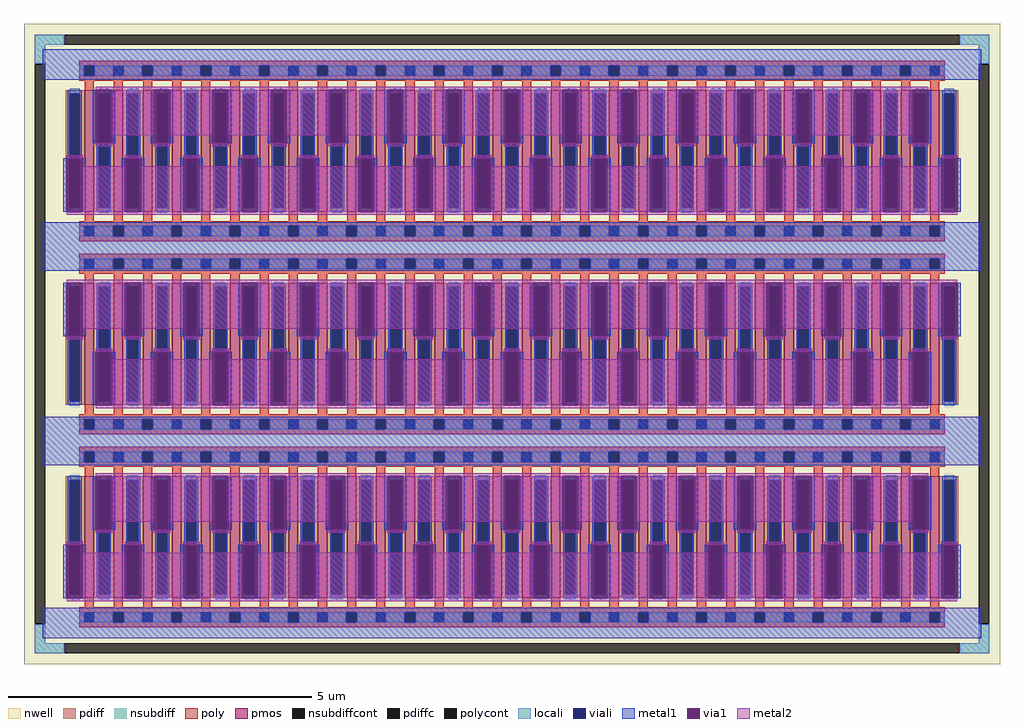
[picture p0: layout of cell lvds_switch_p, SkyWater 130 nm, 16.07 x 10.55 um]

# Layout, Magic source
magic
tech sky130A
magscale 1 2
<< nwell >>
rect 230 1916 3080 1982
rect 248 1902 278 1916
rect 440 1902 470 1916
rect 632 1902 662 1916
rect 824 1902 854 1916
rect 1016 1902 1046 1916
rect 1208 1902 1238 1916
rect 1400 1902 1430 1916
rect 1592 1910 1622 1916
rect 1784 1910 1814 1916
rect 1976 1910 2006 1916
rect 2168 1910 2198 1916
rect 2360 1910 2390 1916
rect 2552 1910 2582 1916
rect 2744 1910 2774 1916
rect 2936 1910 2966 1916
rect 344 1454 374 1466
rect 536 1454 566 1466
rect 728 1454 758 1466
rect 920 1454 950 1464
rect 1112 1454 1142 1466
rect 1304 1454 1334 1464
rect 1496 1454 1526 1464
rect 1688 1454 1718 1466
rect 1880 1454 1910 1466
rect 2072 1454 2102 1468
rect 2264 1454 2294 1468
rect 2456 1454 2486 1466
rect 2648 1454 2678 1466
rect 2840 1454 2870 1464
rect 3032 1454 3062 1466
rect 230 1388 3080 1454
rect 230 1280 3080 1346
rect 344 1268 374 1280
rect 536 1268 566 1280
rect 728 1268 758 1280
rect 920 1270 950 1280
rect 1112 1268 1142 1280
rect 1304 1270 1334 1280
rect 1496 1270 1526 1280
rect 1688 1268 1718 1280
rect 1880 1268 1910 1280
rect 2072 1266 2102 1280
rect 2264 1266 2294 1280
rect 2456 1268 2486 1280
rect 2648 1268 2678 1280
rect 2840 1270 2870 1280
rect 3032 1268 3062 1280
rect 248 818 278 832
rect 440 818 470 832
rect 632 818 662 832
rect 824 818 854 832
rect 1016 818 1046 832
rect 1208 818 1238 832
rect 1400 818 1430 832
rect 1592 818 1622 824
rect 1784 818 1814 824
rect 1976 818 2006 824
rect 2168 818 2198 824
rect 2360 818 2390 824
rect 2552 818 2582 824
rect 2744 818 2774 824
rect 2936 818 2966 824
rect 230 752 3080 818
rect 230 644 3080 710
rect 248 630 278 644
rect 440 630 470 644
rect 632 630 662 644
rect 824 630 854 644
rect 1016 630 1046 644
rect 1208 630 1238 644
rect 1400 630 1430 644
rect 1592 638 1622 644
rect 1784 638 1814 644
rect 1976 638 2006 644
rect 2168 638 2198 644
rect 2360 638 2390 644
rect 2552 638 2582 644
rect 2744 638 2774 644
rect 2936 638 2966 644
rect 344 182 374 194
rect 536 182 566 194
rect 728 182 758 194
rect 920 182 950 192
rect 1112 182 1142 194
rect 1304 182 1334 192
rect 1496 182 1526 192
rect 1688 182 1718 194
rect 1880 182 1910 194
rect 2072 182 2102 196
rect 2264 182 2294 196
rect 2456 182 2486 194
rect 2648 182 2678 194
rect 2840 182 2870 192
rect 3032 182 3062 194
rect 230 116 3080 182
<< poly >>
rect 230 1966 3080 1982
rect 230 1932 246 1966
rect 280 1932 438 1966
rect 472 1932 630 1966
rect 664 1932 822 1966
rect 856 1932 1014 1966
rect 1048 1932 1206 1966
rect 1240 1932 1398 1966
rect 1432 1932 1590 1966
rect 1624 1932 1782 1966
rect 1816 1932 1974 1966
rect 2008 1932 2166 1966
rect 2200 1932 2358 1966
rect 2392 1932 2550 1966
rect 2584 1932 2742 1966
rect 2776 1932 2934 1966
rect 2968 1932 3080 1966
rect 230 1916 3080 1932
rect 248 1902 278 1916
rect 440 1902 470 1916
rect 632 1902 662 1916
rect 824 1902 854 1916
rect 1016 1902 1046 1916
rect 1208 1902 1238 1916
rect 1400 1902 1430 1916
rect 1592 1910 1622 1916
rect 1784 1910 1814 1916
rect 1976 1910 2006 1916
rect 2168 1910 2198 1916
rect 2360 1910 2390 1916
rect 2552 1910 2582 1916
rect 2744 1910 2774 1916
rect 2936 1910 2966 1916
rect 344 1454 374 1466
rect 536 1454 566 1466
rect 728 1454 758 1466
rect 920 1454 950 1464
rect 1112 1454 1142 1466
rect 1304 1454 1334 1464
rect 1496 1454 1526 1464
rect 1688 1454 1718 1466
rect 1880 1454 1910 1466
rect 2072 1454 2102 1468
rect 2264 1454 2294 1468
rect 2456 1454 2486 1466
rect 2648 1454 2678 1466
rect 2840 1454 2870 1464
rect 3032 1454 3062 1466
rect 230 1438 3080 1454
rect 230 1404 342 1438
rect 376 1404 534 1438
rect 568 1404 726 1438
rect 760 1404 918 1438
rect 952 1404 1110 1438
rect 1144 1404 1302 1438
rect 1336 1404 1494 1438
rect 1528 1404 1686 1438
rect 1720 1404 1878 1438
rect 1912 1404 2070 1438
rect 2104 1404 2262 1438
rect 2296 1404 2454 1438
rect 2488 1404 2646 1438
rect 2680 1404 2838 1438
rect 2872 1404 3030 1438
rect 3064 1404 3080 1438
rect 230 1388 3080 1404
rect 230 1330 3080 1346
rect 230 1296 342 1330
rect 376 1296 534 1330
rect 568 1296 726 1330
rect 760 1296 918 1330
rect 952 1296 1110 1330
rect 1144 1296 1302 1330
rect 1336 1296 1494 1330
rect 1528 1296 1686 1330
rect 1720 1296 1878 1330
rect 1912 1296 2070 1330
rect 2104 1296 2262 1330
rect 2296 1296 2454 1330
rect 2488 1296 2646 1330
rect 2680 1296 2838 1330
rect 2872 1296 3030 1330
rect 3064 1296 3080 1330
rect 230 1280 3080 1296
rect 344 1268 374 1280
rect 536 1268 566 1280
rect 728 1268 758 1280
rect 920 1270 950 1280
rect 1112 1268 1142 1280
rect 1304 1270 1334 1280
rect 1496 1270 1526 1280
rect 1688 1268 1718 1280
rect 1880 1268 1910 1280
rect 2072 1266 2102 1280
rect 2264 1266 2294 1280
rect 2456 1268 2486 1280
rect 2648 1268 2678 1280
rect 2840 1270 2870 1280
rect 3032 1268 3062 1280
rect 248 818 278 832
rect 440 818 470 832
rect 632 818 662 832
rect 824 818 854 832
rect 1016 818 1046 832
rect 1208 818 1238 832
rect 1400 818 1430 832
rect 1592 818 1622 824
rect 1784 818 1814 824
rect 1976 818 2006 824
rect 2168 818 2198 824
rect 2360 818 2390 824
rect 2552 818 2582 824
rect 2744 818 2774 824
rect 2936 818 2966 824
rect 230 802 3080 818
rect 230 768 246 802
rect 280 768 438 802
rect 472 768 630 802
rect 664 768 822 802
rect 856 768 1014 802
rect 1048 768 1206 802
rect 1240 768 1398 802
rect 1432 768 1590 802
rect 1624 768 1782 802
rect 1816 768 1974 802
rect 2008 768 2166 802
rect 2200 768 2358 802
rect 2392 768 2550 802
rect 2584 768 2742 802
rect 2776 768 2934 802
rect 2968 768 3080 802
rect 230 752 3080 768
rect 230 694 3080 710
rect 230 660 246 694
rect 280 660 438 694
rect 472 660 630 694
rect 664 660 822 694
rect 856 660 1014 694
rect 1048 660 1206 694
rect 1240 660 1398 694
rect 1432 660 1590 694
rect 1624 660 1782 694
rect 1816 660 1974 694
rect 2008 660 2166 694
rect 2200 660 2358 694
rect 2392 660 2550 694
rect 2584 660 2742 694
rect 2776 660 2934 694
rect 2968 660 3080 694
rect 230 644 3080 660
rect 248 630 278 644
rect 440 630 470 644
rect 632 630 662 644
rect 824 630 854 644
rect 1016 630 1046 644
rect 1208 630 1238 644
rect 1400 630 1430 644
rect 1592 638 1622 644
rect 1784 638 1814 644
rect 1976 638 2006 644
rect 2168 638 2198 644
rect 2360 638 2390 644
rect 2552 638 2582 644
rect 2744 638 2774 644
rect 2936 638 2966 644
rect 344 182 374 194
rect 536 182 566 194
rect 728 182 758 194
rect 920 182 950 192
rect 1112 182 1142 194
rect 1304 182 1334 192
rect 1496 182 1526 192
rect 1688 182 1718 194
rect 1880 182 1910 194
rect 2072 182 2102 196
rect 2264 182 2294 196
rect 2456 182 2486 194
rect 2648 182 2678 194
rect 2840 182 2870 192
rect 3032 182 3062 194
rect 230 166 3080 182
rect 230 132 342 166
rect 376 132 534 166
rect 568 132 726 166
rect 760 132 918 166
rect 952 132 1110 166
rect 1144 132 1302 166
rect 1336 132 1494 166
rect 1528 132 1686 166
rect 1720 132 1878 166
rect 1912 132 2070 166
rect 2104 132 2262 166
rect 2296 132 2454 166
rect 2488 132 2646 166
rect 2680 132 2838 166
rect 2872 132 3030 166
rect 3064 132 3080 166
rect 230 116 3080 132
<< polycont >>
rect 246 1932 280 1966
rect 438 1932 472 1966
rect 630 1932 664 1966
rect 822 1932 856 1966
rect 1014 1932 1048 1966
rect 1206 1932 1240 1966
rect 1398 1932 1432 1966
rect 1590 1932 1624 1966
rect 1782 1932 1816 1966
rect 1974 1932 2008 1966
rect 2166 1932 2200 1966
rect 2358 1932 2392 1966
rect 2550 1932 2584 1966
rect 2742 1932 2776 1966
rect 2934 1932 2968 1966
rect 342 1404 376 1438
rect 534 1404 568 1438
rect 726 1404 760 1438
rect 918 1404 952 1438
rect 1110 1404 1144 1438
rect 1302 1404 1336 1438
rect 1494 1404 1528 1438
rect 1686 1404 1720 1438
rect 1878 1404 1912 1438
rect 2070 1404 2104 1438
rect 2262 1404 2296 1438
rect 2454 1404 2488 1438
rect 2646 1404 2680 1438
rect 2838 1404 2872 1438
rect 3030 1404 3064 1438
rect 342 1296 376 1330
rect 534 1296 568 1330
rect 726 1296 760 1330
rect 918 1296 952 1330
rect 1110 1296 1144 1330
rect 1302 1296 1336 1330
rect 1494 1296 1528 1330
rect 1686 1296 1720 1330
rect 1878 1296 1912 1330
rect 2070 1296 2104 1330
rect 2262 1296 2296 1330
rect 2454 1296 2488 1330
rect 2646 1296 2680 1330
rect 2838 1296 2872 1330
rect 3030 1296 3064 1330
rect 246 768 280 802
rect 438 768 472 802
rect 630 768 664 802
rect 822 768 856 802
rect 1014 768 1048 802
rect 1206 768 1240 802
rect 1398 768 1432 802
rect 1590 768 1624 802
rect 1782 768 1816 802
rect 1974 768 2008 802
rect 2166 768 2200 802
rect 2358 768 2392 802
rect 2550 768 2584 802
rect 2742 768 2776 802
rect 2934 768 2968 802
rect 246 660 280 694
rect 438 660 472 694
rect 630 660 664 694
rect 822 660 856 694
rect 1014 660 1048 694
rect 1206 660 1240 694
rect 1398 660 1432 694
rect 1590 660 1624 694
rect 1782 660 1816 694
rect 1974 660 2008 694
rect 2166 660 2200 694
rect 2358 660 2392 694
rect 2550 660 2584 694
rect 2742 660 2776 694
rect 2934 660 2968 694
rect 342 132 376 166
rect 534 132 568 166
rect 726 132 760 166
rect 918 132 952 166
rect 1110 132 1144 166
rect 1302 132 1336 166
rect 1494 132 1528 166
rect 1686 132 1720 166
rect 1878 132 1912 166
rect 2070 132 2104 166
rect 2262 132 2296 166
rect 2454 132 2488 166
rect 2646 132 2680 166
rect 2838 132 2872 166
rect 3030 132 3064 166
<< locali >>
rect 230 1932 246 1966
rect 280 1932 438 1966
rect 472 1932 630 1966
rect 664 1932 822 1966
rect 856 1932 1014 1966
rect 1048 1932 1206 1966
rect 1240 1932 1398 1966
rect 1432 1932 1590 1966
rect 1624 1932 1782 1966
rect 1816 1932 1974 1966
rect 2008 1932 2166 1966
rect 2200 1932 2358 1966
rect 2392 1932 2550 1966
rect 2584 1932 2742 1966
rect 2776 1932 2934 1966
rect 2968 1932 3080 1966
rect 230 1404 342 1438
rect 376 1404 534 1438
rect 568 1404 726 1438
rect 760 1404 918 1438
rect 952 1404 1110 1438
rect 1144 1404 1302 1438
rect 1336 1404 1494 1438
rect 1528 1404 1686 1438
rect 1720 1404 1878 1438
rect 1912 1404 2070 1438
rect 2104 1404 2262 1438
rect 2296 1404 2454 1438
rect 2488 1404 2646 1438
rect 2680 1404 2838 1438
rect 2872 1404 3030 1438
rect 3064 1404 3080 1438
rect 230 1296 342 1330
rect 376 1296 534 1330
rect 568 1296 726 1330
rect 760 1296 918 1330
rect 952 1296 1110 1330
rect 1144 1296 1302 1330
rect 1336 1296 1494 1330
rect 1528 1296 1686 1330
rect 1720 1296 1878 1330
rect 1912 1296 2070 1330
rect 2104 1296 2262 1330
rect 2296 1296 2454 1330
rect 2488 1296 2646 1330
rect 2680 1296 2838 1330
rect 2872 1296 3030 1330
rect 3064 1296 3080 1330
rect 230 768 246 802
rect 280 768 438 802
rect 472 768 630 802
rect 664 768 822 802
rect 856 768 1014 802
rect 1048 768 1206 802
rect 1240 768 1398 802
rect 1432 768 1590 802
rect 1624 768 1782 802
rect 1816 768 1974 802
rect 2008 768 2166 802
rect 2200 768 2358 802
rect 2392 768 2550 802
rect 2584 768 2742 802
rect 2776 768 2934 802
rect 2968 768 3080 802
rect 230 660 246 694
rect 280 660 438 694
rect 472 660 630 694
rect 664 660 822 694
rect 856 660 1014 694
rect 1048 660 1206 694
rect 1240 660 1398 694
rect 1432 660 1590 694
rect 1624 660 1782 694
rect 1816 660 1974 694
rect 2008 660 2166 694
rect 2200 660 2358 694
rect 2392 660 2550 694
rect 2584 660 2742 694
rect 2776 660 2934 694
rect 2968 660 3080 694
rect 230 132 342 166
rect 376 132 534 166
rect 568 132 726 166
rect 760 132 918 166
rect 952 132 1110 166
rect 1144 132 1302 166
rect 1336 132 1494 166
rect 1528 132 1686 166
rect 1720 132 1878 166
rect 1912 132 2070 166
rect 2104 132 2262 166
rect 2296 132 2454 166
rect 2488 132 2646 166
rect 2680 132 2838 166
rect 2872 132 3030 166
rect 3064 132 3080 166
<< viali >>
rect 246 1932 280 1966
rect 438 1932 472 1966
rect 630 1932 664 1966
rect 822 1932 856 1966
rect 1014 1932 1048 1966
rect 1206 1932 1240 1966
rect 1398 1932 1432 1966
rect 1590 1932 1624 1966
rect 1782 1932 1816 1966
rect 1974 1932 2008 1966
rect 2166 1932 2200 1966
rect 2358 1932 2392 1966
rect 2550 1932 2584 1966
rect 2742 1932 2776 1966
rect 2934 1932 2968 1966
rect 342 1404 376 1438
rect 534 1404 568 1438
rect 726 1404 760 1438
rect 918 1404 952 1438
rect 1110 1404 1144 1438
rect 1302 1404 1336 1438
rect 1494 1404 1528 1438
rect 1686 1404 1720 1438
rect 1878 1404 1912 1438
rect 2070 1404 2104 1438
rect 2262 1404 2296 1438
rect 2454 1404 2488 1438
rect 2646 1404 2680 1438
rect 2838 1404 2872 1438
rect 3030 1404 3064 1438
rect 342 1296 376 1330
rect 534 1296 568 1330
rect 726 1296 760 1330
rect 918 1296 952 1330
rect 1110 1296 1144 1330
rect 1302 1296 1336 1330
rect 1494 1296 1528 1330
rect 1686 1296 1720 1330
rect 1878 1296 1912 1330
rect 2070 1296 2104 1330
rect 2262 1296 2296 1330
rect 2454 1296 2488 1330
rect 2646 1296 2680 1330
rect 2838 1296 2872 1330
rect 3030 1296 3064 1330
rect 246 768 280 802
rect 438 768 472 802
rect 630 768 664 802
rect 822 768 856 802
rect 1014 768 1048 802
rect 1206 768 1240 802
rect 1398 768 1432 802
rect 1590 768 1624 802
rect 1782 768 1816 802
rect 1974 768 2008 802
rect 2166 768 2200 802
rect 2358 768 2392 802
rect 2550 768 2584 802
rect 2742 768 2776 802
rect 2934 768 2968 802
rect 246 660 280 694
rect 438 660 472 694
rect 630 660 664 694
rect 822 660 856 694
rect 1014 660 1048 694
rect 1206 660 1240 694
rect 1398 660 1432 694
rect 1590 660 1624 694
rect 1782 660 1816 694
rect 1974 660 2008 694
rect 2166 660 2200 694
rect 2358 660 2392 694
rect 2550 660 2584 694
rect 2742 660 2776 694
rect 2934 660 2968 694
rect 342 132 376 166
rect 534 132 568 166
rect 726 132 760 166
rect 918 132 952 166
rect 1110 132 1144 166
rect 1302 132 1336 166
rect 1494 132 1528 166
rect 1686 132 1720 166
rect 1878 132 1912 166
rect 2070 132 2104 166
rect 2262 132 2296 166
rect 2454 132 2488 166
rect 2646 132 2680 166
rect 2838 132 2872 166
rect 3030 132 3064 166
<< metal1 >>
rect 110 1966 3200 2020
rect 110 1932 246 1966
rect 280 1932 438 1966
rect 472 1932 630 1966
rect 664 1932 822 1966
rect 856 1932 1014 1966
rect 1048 1932 1206 1966
rect 1240 1932 1398 1966
rect 1432 1932 1590 1966
rect 1624 1932 1782 1966
rect 1816 1932 1974 1966
rect 2008 1932 2166 1966
rect 2200 1932 2358 1966
rect 2392 1932 2550 1966
rect 2584 1932 2742 1966
rect 2776 1932 2934 1966
rect 2968 1932 3200 1966
rect 110 1920 3200 1932
rect 274 1710 284 1886
rect 338 1710 348 1886
rect 466 1710 476 1886
rect 530 1710 540 1886
rect 658 1710 668 1886
rect 722 1710 732 1886
rect 850 1710 860 1886
rect 914 1710 924 1886
rect 1042 1710 1052 1886
rect 1106 1710 1116 1886
rect 1234 1710 1244 1886
rect 1298 1710 1308 1886
rect 1426 1710 1436 1886
rect 1490 1710 1500 1886
rect 1618 1710 1628 1886
rect 1682 1710 1692 1886
rect 1810 1710 1820 1886
rect 1874 1710 1884 1886
rect 2002 1710 2012 1886
rect 2066 1710 2076 1886
rect 2194 1710 2204 1886
rect 2258 1710 2268 1886
rect 2386 1710 2396 1886
rect 2450 1710 2460 1886
rect 2578 1710 2588 1886
rect 2642 1710 2652 1886
rect 2770 1710 2780 1886
rect 2834 1710 2844 1886
rect 2962 1710 2972 1886
rect 3026 1710 3036 1886
rect 178 1484 188 1660
rect 242 1484 252 1660
rect 370 1484 380 1660
rect 434 1484 444 1660
rect 562 1484 572 1660
rect 626 1484 636 1660
rect 754 1484 764 1660
rect 818 1484 828 1660
rect 946 1484 956 1660
rect 1010 1484 1020 1660
rect 1138 1484 1148 1660
rect 1202 1484 1212 1660
rect 1330 1484 1340 1660
rect 1394 1484 1404 1660
rect 1522 1484 1532 1660
rect 1586 1484 1596 1660
rect 1714 1484 1724 1660
rect 1778 1484 1788 1660
rect 1906 1484 1916 1660
rect 1970 1484 1980 1660
rect 2098 1484 2108 1660
rect 2162 1484 2172 1660
rect 2290 1484 2300 1660
rect 2354 1484 2364 1660
rect 2482 1484 2492 1660
rect 2546 1484 2556 1660
rect 2674 1484 2684 1660
rect 2738 1484 2748 1660
rect 2866 1484 2876 1660
rect 2930 1484 2940 1660
rect 3058 1484 3068 1660
rect 3122 1484 3132 1660
rect 110 1438 3200 1450
rect 110 1404 342 1438
rect 376 1404 534 1438
rect 568 1404 726 1438
rect 760 1404 918 1438
rect 952 1404 1110 1438
rect 1144 1404 1302 1438
rect 1336 1404 1494 1438
rect 1528 1404 1686 1438
rect 1720 1404 1878 1438
rect 1912 1404 2070 1438
rect 2104 1404 2262 1438
rect 2296 1404 2454 1438
rect 2488 1404 2646 1438
rect 2680 1404 2838 1438
rect 2872 1404 3030 1438
rect 3064 1404 3200 1438
rect 110 1330 3200 1404
rect 110 1296 342 1330
rect 376 1296 534 1330
rect 568 1296 726 1330
rect 760 1296 918 1330
rect 952 1296 1110 1330
rect 1144 1296 1302 1330
rect 1336 1296 1494 1330
rect 1528 1296 1686 1330
rect 1720 1296 1878 1330
rect 1912 1296 2070 1330
rect 2104 1296 2262 1330
rect 2296 1296 2454 1330
rect 2488 1296 2646 1330
rect 2680 1296 2838 1330
rect 2872 1296 3030 1330
rect 3064 1296 3200 1330
rect 110 1290 3200 1296
rect 178 1074 188 1250
rect 242 1074 252 1250
rect 370 1074 380 1250
rect 434 1074 444 1250
rect 562 1074 572 1250
rect 626 1074 636 1250
rect 754 1074 764 1250
rect 818 1074 828 1250
rect 946 1074 956 1250
rect 1010 1074 1020 1250
rect 1138 1074 1148 1250
rect 1202 1074 1212 1250
rect 1330 1074 1340 1250
rect 1394 1074 1404 1250
rect 1522 1074 1532 1250
rect 1586 1074 1596 1250
rect 1714 1074 1724 1250
rect 1778 1074 1788 1250
rect 1906 1074 1916 1250
rect 1970 1074 1980 1250
rect 2098 1074 2108 1250
rect 2162 1074 2172 1250
rect 2290 1074 2300 1250
rect 2354 1074 2364 1250
rect 2482 1074 2492 1250
rect 2546 1074 2556 1250
rect 2674 1074 2684 1250
rect 2738 1074 2748 1250
rect 2866 1074 2876 1250
rect 2930 1074 2940 1250
rect 3058 1074 3068 1250
rect 3122 1074 3132 1250
rect 274 848 284 1024
rect 338 848 348 1024
rect 466 848 476 1024
rect 530 848 540 1024
rect 658 848 668 1024
rect 722 848 732 1024
rect 850 848 860 1024
rect 914 848 924 1024
rect 1042 848 1052 1024
rect 1106 848 1116 1024
rect 1234 848 1244 1024
rect 1298 848 1308 1024
rect 1426 848 1436 1024
rect 1490 848 1500 1024
rect 1618 848 1628 1024
rect 1682 848 1692 1024
rect 1810 848 1820 1024
rect 1874 848 1884 1024
rect 2002 848 2012 1024
rect 2066 848 2076 1024
rect 2194 848 2204 1024
rect 2258 848 2268 1024
rect 2386 848 2396 1024
rect 2450 848 2460 1024
rect 2578 848 2588 1024
rect 2642 848 2652 1024
rect 2770 848 2780 1024
rect 2834 848 2844 1024
rect 2962 848 2972 1024
rect 3026 848 3036 1024
rect 110 802 3200 810
rect 110 768 246 802
rect 280 768 438 802
rect 472 768 630 802
rect 664 768 822 802
rect 856 768 1014 802
rect 1048 768 1206 802
rect 1240 768 1398 802
rect 1432 768 1590 802
rect 1624 768 1782 802
rect 1816 768 1974 802
rect 2008 768 2166 802
rect 2200 768 2358 802
rect 2392 768 2550 802
rect 2584 768 2742 802
rect 2776 768 2934 802
rect 2968 768 3200 802
rect 110 694 3200 768
rect 110 660 246 694
rect 280 660 438 694
rect 472 660 630 694
rect 664 660 822 694
rect 856 660 1014 694
rect 1048 660 1206 694
rect 1240 660 1398 694
rect 1432 660 1590 694
rect 1624 660 1782 694
rect 1816 660 1974 694
rect 2008 660 2166 694
rect 2200 660 2358 694
rect 2392 660 2550 694
rect 2584 660 2742 694
rect 2776 660 2934 694
rect 2968 660 3200 694
rect 110 650 3200 660
rect 274 438 284 614
rect 338 438 348 614
rect 466 438 476 614
rect 530 438 540 614
rect 658 438 668 614
rect 722 438 732 614
rect 850 438 860 614
rect 914 438 924 614
rect 1042 438 1052 614
rect 1106 438 1116 614
rect 1234 438 1244 614
rect 1298 438 1308 614
rect 1426 438 1436 614
rect 1490 438 1500 614
rect 1618 438 1628 614
rect 1682 438 1692 614
rect 1810 438 1820 614
rect 1874 438 1884 614
rect 2002 438 2012 614
rect 2066 438 2076 614
rect 2194 438 2204 614
rect 2258 438 2268 614
rect 2386 438 2396 614
rect 2450 438 2460 614
rect 2578 438 2588 614
rect 2642 438 2652 614
rect 2770 438 2780 614
rect 2834 438 2844 614
rect 2962 438 2972 614
rect 3026 438 3036 614
rect 178 212 188 388
rect 242 212 252 388
rect 370 212 380 388
rect 434 212 444 388
rect 562 212 572 388
rect 626 212 636 388
rect 754 212 764 388
rect 818 212 828 388
rect 946 212 956 388
rect 1010 212 1020 388
rect 1138 212 1148 388
rect 1202 212 1212 388
rect 1330 212 1340 388
rect 1394 212 1404 388
rect 1522 212 1532 388
rect 1586 212 1596 388
rect 1714 212 1724 388
rect 1778 212 1788 388
rect 1906 212 1916 388
rect 1970 212 1980 388
rect 2098 212 2108 388
rect 2162 212 2172 388
rect 2290 212 2300 388
rect 2354 212 2364 388
rect 2482 212 2492 388
rect 2546 212 2556 388
rect 2674 212 2684 388
rect 2738 212 2748 388
rect 2866 212 2876 388
rect 2930 212 2940 388
rect 3058 212 3068 388
rect 3122 212 3132 388
rect 110 166 3200 180
rect 110 132 342 166
rect 376 132 534 166
rect 568 132 726 166
rect 760 132 918 166
rect 952 132 1110 166
rect 1144 132 1302 166
rect 1336 132 1494 166
rect 1528 132 1686 166
rect 1720 132 1878 166
rect 1912 132 2070 166
rect 2104 132 2262 166
rect 2296 132 2454 166
rect 2488 132 2646 166
rect 2680 132 2838 166
rect 2872 132 3030 166
rect 3064 132 3200 166
rect 110 80 3200 132
<< via1 >>
rect 284 1710 338 1886
rect 476 1710 530 1886
rect 668 1710 722 1886
rect 860 1710 914 1886
rect 1052 1710 1106 1886
rect 1244 1710 1298 1886
rect 1436 1710 1490 1886
rect 1628 1710 1682 1886
rect 1820 1710 1874 1886
rect 2012 1710 2066 1886
rect 2204 1710 2258 1886
rect 2396 1710 2450 1886
rect 2588 1710 2642 1886
rect 2780 1710 2834 1886
rect 2972 1710 3026 1886
rect 188 1484 242 1660
rect 380 1484 434 1660
rect 572 1484 626 1660
rect 764 1484 818 1660
rect 956 1484 1010 1660
rect 1148 1484 1202 1660
rect 1340 1484 1394 1660
rect 1532 1484 1586 1660
rect 1724 1484 1778 1660
rect 1916 1484 1970 1660
rect 2108 1484 2162 1660
rect 2300 1484 2354 1660
rect 2492 1484 2546 1660
rect 2684 1484 2738 1660
rect 2876 1484 2930 1660
rect 3068 1484 3122 1660
rect 188 1074 242 1250
rect 380 1074 434 1250
rect 572 1074 626 1250
rect 764 1074 818 1250
rect 956 1074 1010 1250
rect 1148 1074 1202 1250
rect 1340 1074 1394 1250
rect 1532 1074 1586 1250
rect 1724 1074 1778 1250
rect 1916 1074 1970 1250
rect 2108 1074 2162 1250
rect 2300 1074 2354 1250
rect 2492 1074 2546 1250
rect 2684 1074 2738 1250
rect 2876 1074 2930 1250
rect 3068 1074 3122 1250
rect 284 848 338 1024
rect 476 848 530 1024
rect 668 848 722 1024
rect 860 848 914 1024
rect 1052 848 1106 1024
rect 1244 848 1298 1024
rect 1436 848 1490 1024
rect 1628 848 1682 1024
rect 1820 848 1874 1024
rect 2012 848 2066 1024
rect 2204 848 2258 1024
rect 2396 848 2450 1024
rect 2588 848 2642 1024
rect 2780 848 2834 1024
rect 2972 848 3026 1024
rect 284 438 338 614
rect 476 438 530 614
rect 668 438 722 614
rect 860 438 914 614
rect 1052 438 1106 614
rect 1244 438 1298 614
rect 1436 438 1490 614
rect 1628 438 1682 614
rect 1820 438 1874 614
rect 2012 438 2066 614
rect 2204 438 2258 614
rect 2396 438 2450 614
rect 2588 438 2642 614
rect 2780 438 2834 614
rect 2972 438 3026 614
rect 188 212 242 388
rect 380 212 434 388
rect 572 212 626 388
rect 764 212 818 388
rect 956 212 1010 388
rect 1148 212 1202 388
rect 1340 212 1394 388
rect 1532 212 1586 388
rect 1724 212 1778 388
rect 1916 212 1970 388
rect 2108 212 2162 388
rect 2300 212 2354 388
rect 2492 212 2546 388
rect 2684 212 2738 388
rect 2876 212 2930 388
rect 3068 212 3122 388
<< metal2 >>
rect 284 1886 3026 1896
rect 338 1736 476 1886
rect 284 1700 338 1710
rect 530 1736 668 1886
rect 476 1700 530 1710
rect 722 1736 860 1886
rect 668 1700 722 1710
rect 914 1736 1052 1886
rect 860 1700 914 1710
rect 1106 1736 1244 1886
rect 1052 1700 1106 1710
rect 1298 1736 1436 1886
rect 1244 1700 1298 1710
rect 1490 1736 1628 1886
rect 1436 1700 1490 1710
rect 1682 1736 1820 1886
rect 1628 1700 1682 1710
rect 1874 1736 2012 1886
rect 1820 1700 1874 1710
rect 2066 1736 2204 1886
rect 2012 1700 2066 1710
rect 2258 1736 2396 1886
rect 2204 1700 2258 1710
rect 2450 1736 2588 1886
rect 2396 1700 2450 1710
rect 2642 1736 2780 1886
rect 2588 1700 2642 1710
rect 2834 1736 2972 1886
rect 2780 1700 2834 1710
rect 2972 1700 3026 1710
rect 188 1660 242 1670
rect 380 1660 434 1670
rect 242 1484 380 1634
rect 572 1660 626 1670
rect 434 1484 572 1634
rect 764 1660 818 1670
rect 626 1484 764 1634
rect 956 1660 1010 1670
rect 818 1484 956 1634
rect 1148 1660 1202 1670
rect 1010 1484 1148 1634
rect 1340 1660 1394 1670
rect 1202 1484 1340 1634
rect 1532 1660 1586 1670
rect 1394 1484 1532 1634
rect 1724 1660 1778 1670
rect 1586 1484 1724 1634
rect 1916 1660 1970 1670
rect 1778 1484 1916 1634
rect 2108 1660 2162 1670
rect 1970 1484 2108 1634
rect 2300 1660 2354 1670
rect 2162 1484 2300 1634
rect 2492 1660 2546 1670
rect 2354 1484 2492 1634
rect 2684 1660 2738 1670
rect 2546 1484 2684 1634
rect 2876 1660 2930 1670
rect 2738 1484 2876 1634
rect 3068 1660 3122 1670
rect 2930 1484 3068 1634
rect 188 1474 3122 1484
rect 188 1250 3122 1260
rect 242 1100 380 1250
rect 188 1064 242 1074
rect 434 1100 572 1250
rect 380 1064 434 1074
rect 626 1100 764 1250
rect 572 1064 626 1074
rect 818 1100 956 1250
rect 764 1064 818 1074
rect 1010 1100 1148 1250
rect 956 1064 1010 1074
rect 1202 1100 1340 1250
rect 1148 1064 1202 1074
rect 1394 1100 1532 1250
rect 1340 1064 1394 1074
rect 1586 1100 1724 1250
rect 1532 1064 1586 1074
rect 1778 1100 1916 1250
rect 1724 1064 1778 1074
rect 1970 1100 2108 1250
rect 1916 1064 1970 1074
rect 2162 1100 2300 1250
rect 2108 1064 2162 1074
rect 2354 1100 2492 1250
rect 2300 1064 2354 1074
rect 2546 1100 2684 1250
rect 2492 1064 2546 1074
rect 2738 1100 2876 1250
rect 2684 1064 2738 1074
rect 2930 1100 3068 1250
rect 2876 1064 2930 1074
rect 3068 1064 3122 1074
rect 284 1024 338 1034
rect 476 1024 530 1034
rect 338 848 476 998
rect 668 1024 722 1034
rect 530 848 668 998
rect 860 1024 914 1034
rect 722 848 860 998
rect 1052 1024 1106 1034
rect 914 848 1052 998
rect 1244 1024 1298 1034
rect 1106 848 1244 998
rect 1436 1024 1490 1034
rect 1298 848 1436 998
rect 1628 1024 1682 1034
rect 1490 848 1628 998
rect 1820 1024 1874 1034
rect 1682 848 1820 998
rect 2012 1024 2066 1034
rect 1874 848 2012 998
rect 2204 1024 2258 1034
rect 2066 848 2204 998
rect 2396 1024 2450 1034
rect 2258 848 2396 998
rect 2588 1024 2642 1034
rect 2450 848 2588 998
rect 2780 1024 2834 1034
rect 2642 848 2780 998
rect 2972 1024 3026 1034
rect 2834 848 2972 998
rect 284 838 3026 848
rect 284 614 3026 624
rect 338 464 476 614
rect 284 428 338 438
rect 530 464 668 614
rect 476 428 530 438
rect 722 464 860 614
rect 668 428 722 438
rect 914 464 1052 614
rect 860 428 914 438
rect 1106 464 1244 614
rect 1052 428 1106 438
rect 1298 464 1436 614
rect 1244 428 1298 438
rect 1490 464 1628 614
rect 1436 428 1490 438
rect 1682 464 1820 614
rect 1628 428 1682 438
rect 1874 464 2012 614
rect 1820 428 1874 438
rect 2066 464 2204 614
rect 2012 428 2066 438
rect 2258 464 2396 614
rect 2204 428 2258 438
rect 2450 464 2588 614
rect 2396 428 2450 438
rect 2642 464 2780 614
rect 2588 428 2642 438
rect 2834 464 2972 614
rect 2780 428 2834 438
rect 2972 428 3026 438
rect 188 388 242 398
rect 380 388 434 398
rect 242 212 380 362
rect 572 388 626 398
rect 434 212 572 362
rect 764 388 818 398
rect 626 212 764 362
rect 956 388 1010 398
rect 818 212 956 362
rect 1148 388 1202 398
rect 1010 212 1148 362
rect 1340 388 1394 398
rect 1202 212 1340 362
rect 1532 388 1586 398
rect 1394 212 1532 362
rect 1724 388 1778 398
rect 1586 212 1724 362
rect 1916 388 1970 398
rect 1778 212 1916 362
rect 2108 388 2162 398
rect 1970 212 2108 362
rect 2300 388 2354 398
rect 2162 212 2300 362
rect 2492 388 2546 398
rect 2354 212 2492 362
rect 2684 388 2738 398
rect 2546 212 2684 362
rect 2876 388 2930 398
rect 2738 212 2876 362
rect 3068 388 3122 398
rect 2930 212 3068 362
rect 188 202 3122 212
use sky130_fd_pr__pfet_01v8_VCB4SW  sky130_fd_pr__pfet_01v8_VCB4SW_0
transform 1 0 1655 0 1 1049
box -1607 -1055 1607 1055
<< end >>

# cell sky130_fd_pr__pfet_01v8_VCB4SW: kit device sky130_fd_pr__pfet_01v8, w 2 l 0.15 m 3 nf 30 diffcov 100 polycov 100 guard 1 glc 1 grc 1 gtc 1 gbc 1 tbcov 100 rlcov 100 topc 1 botc 1 poverlap 0 doverlap 1 lmin 0.15 wmin 0.42 compatible {sky130_fd_pr__pfet_01v8 sky130_fd_pr__pfet_01v8_lvt sky130_fd_pr__pfet_01v8_hvt sky130_fd_pr__pfet_g5v0d10v5} full_metal 1 viasrc 100 viadrn 100 viagate 100 viagb 0 viagr 0 viagl 0 viagt 0
